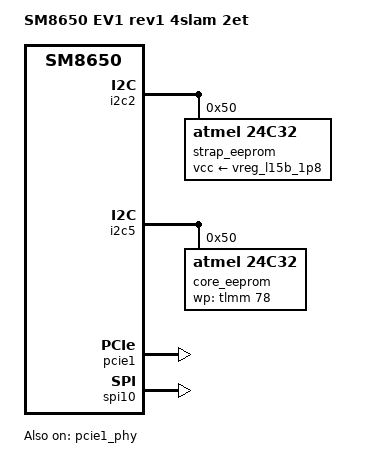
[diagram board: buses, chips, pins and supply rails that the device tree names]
/dts-v1/;

#include "sm8650-deckard.dtsi"

/ {
	model = "SM8650 EV1 rev1 4slam 2et";
	compatible = "qcom,sm8650-deckard-ev1", "qcom,sm8650";
};

&apps_rsc {
	regulators-6 {
		vdd-l6-supply = <&vreg_bob2>;
	};

	regulators-7 {
		vdd-l6-supply = <&vreg_bob2>;
	};
};

&i2c2 {
	status = "okay";

	/* max17320@36 */

	// PADDLE EEPROM
	eeprom@50 {
		compatible = "atmel,24c32";
		reg = <0x50>;
		label = "strap_eeprom";
		vcc-supply  = <&vreg_l15b_1p8>;
	};
};

&i2c4 {
	/* slg4ax46073v@8 */
};

&i2c5 {
	status = "okay";

	/* max34417@1a */

	// BOOT EEPROM
	eeprom@50 {
		compatible  = "atmel,24c32";
		reg = <0x50>;
		wp-gpios = <&tlmm 78 GPIO_ACTIVE_HIGH>;
		label = "core_eeprom";
	};
};

&pcie1 {
	wake-gpios = <&tlmm 99 GPIO_ACTIVE_HIGH>;
	perst-gpios = <&tlmm 97 GPIO_ACTIVE_LOW>;

	pinctrl-0 = <&pcie1_default_state>;
	pinctrl-names = "default";

	status = "okay";
};

&pcie1_phy {
	vdda-phy-supply = <&vreg_l3e_0p9>;
	vdda-pll-supply = <&vreg_l3i_1p2>;
	vdda-qref-supply = <&vreg_l1i_0p88>;

	status = "okay";
};

&pm8550ve_gpios {
	gpio-line-names =
		// GPIO01 - GPIO08
		"",  "",  "",  "",  "",  "",  "",  "";
};

&tlmm {
	gpio-line-names =
		// GPIO000 - GPIO015
		"",  "",  "",  "",  "",  "",  "",  "qpd_fpga_rst",  "",  "",  "",  "nrf_time_sync",  "",  "",  "",  "",
		// GPIO016 - GPIO031
		"",  "",  "",  "",  "",  "",  "",  "",  "",  "",  "",  "",  "",  "",  "",  "",
		// GPIO032 - GPIO047
		"",  "",  "",  "",  "",  "",  "",  "qpd_fpga_crst",  "",  "",  "",  "",  "",  "",  "",  "",
		// GPIO048 - GPIO063
		"",  "",  "nrf_swdio",  "nrf_swclk",  "",  "",  "",  "",  "fpga_cam0_strobe",  "fpga_cam1_strobe",  "",  "",  "",  "",  "",  "",
		// GPIO064 - GPIO079
		"",  "",  "",  "",  "",  "",  "",  "",  "",  "",  "",  "",  "",  "",  "",  "",
		// GPIO080 - GPIO095
		"",  "",  "",  "",  "",  "",  "",  "",  "",  "",  "",  "",  "",  "",  "",  "",
		// GPIO096 - GPIO111
		"",  "",  "",  "",  "",  "",  "",  "",  "",  "",  "",  "",  "",  "",  "fpga_cam1_frame_sync",  "",
		// GPIO112 - GPIO127
		"",  "",  "",  "",  "",  "",  "",  "",  "",  "",  "",  "",  "fpga_cam0_frame_sync",  "",  "",  "",
		// GPIO128 - GPIO143
		"",  "",  "",  "",  "",  "",  "",  "",  "",  "",  "",  "",  "",  "",  "",  "",
		// GPIO144 - GPIO159
		"",  "",  "",  "",  "",  "",  "",  "",  "",  "",  "",  "qpd_fpga_cdone",  "",  "",  "qpd_fpga_dready",  "",
		// GPIO160 - GPIO175
		"",  "",  "",  "",  "nrf_reset",  "",  "",  "",  "",  "",  "",  "",  "",  "",  "",  "",
		// GPIO176 - GPIO189
		"",  "",  "",  "",  "", "", "", "", "", "", "", "", "", "";

	// nRF SPI interrupt and reset pins

	host_spihid_default_state: host-spihid-default {
		irq0-pins {
			pins = "gpio66";
			function = "gpio";
			bias-pull-up;
		};

		reset0-pins {
			pins = "gpio164";
			function = "gpio";
			drive-strength = <2>;
			output-low;
			bias-pull-down;
		};
	};
};

// nRF SPI HID
&spi10 {
	status = "okay";

	hid@1 {
		compatible = "hid-over-spi";
		reg = <1>;
		interrupts-extended = <&tlmm 66 IRQ_TYPE_EDGE_FALLING>;
		reset-gpios = <&tlmm 164 GPIO_ACTIVE_LOW>;
		input-report-header-address = <0x1000>;
		input-report-body-address = <0x1004>;
		output-report-address = <0x2000>;
		read-opcode = <0x0b>;
		write-opcode = <0x02>;
		hid-over-spi-flags = <0x00>;
		post-power-on-delay-ms = <1>;
		minimal-reset-delay-ms = <100>;
		pinctrl-names = "default";
		pinctrl-0 = <&host_spihid_default_state>;
	};
};
